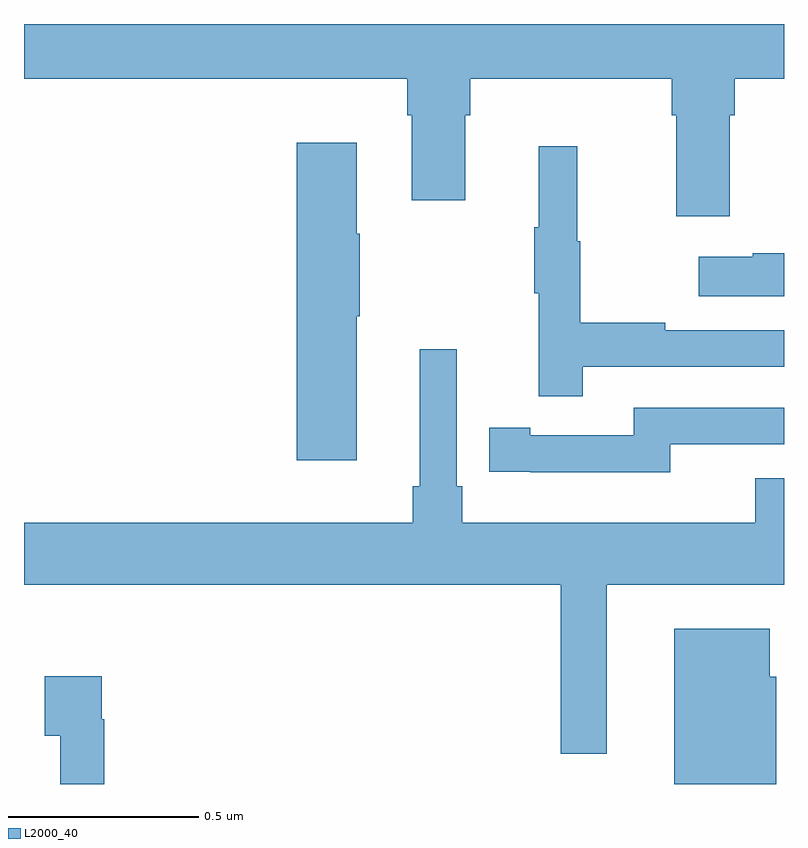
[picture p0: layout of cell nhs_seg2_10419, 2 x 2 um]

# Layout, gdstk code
import gdstk
lib = gdstk.Library(unit=1e-6, precision=1e-09)
def P(c, l, *ps):  # polygons
    for p in ps: c.add(gdstk.Polygon(p, *l))
L2000_40 = (2000, 40)

nhs_seg2_10419 = lib.new_cell('nhs_seg2_10419')
P(nhs_seg2_10419, L2000_40, [(241,627.656),(242.009,627.656),(242.009,627.56),(242.021,627.56),(242.021,627.336),(242.161,627.336),(242.161,627.56),(242.174,627.56),(242.174,627.656),(242.705,627.656),(242.705,627.56),(242.717,627.56),(242.717,627.294),(242.857,627.294),(242.857,627.56),(242.87,627.56),(242.87,627.656),(243,627.656),(243,627.8),(241,627.8)],
  [(241.876,627.031),(241.884,627.031),(241.884,627.248),(241.876,627.248),(241.876,627.487),(241.718,627.487),(241.718,626.652),(241.876,626.652)],
  [(242.471,626.898),(243,626.898),(243,626.994),(242.687,626.994),(242.687,627.014),(242.464,627.014),(242.464,627.228),(242.456,627.228),(242.456,627.478),(242.354,627.478),(242.354,627.265),(242.343,627.265),(242.343,627.091),(242.354,627.091),(242.354,626.82),(242.471,626.82)],
  [(243,627.197),(242.918,627.197),(242.918,627.187),(242.775,627.187),(242.775,627.083),(243,627.083)],
  [(242.533,626.324),(243,626.324),(243,626.605),(242.924,626.605),(242.924,626.488),(242.153,626.488),(242.153,626.584),(242.139,626.584),(242.139,626.944),(242.042,626.944),(242.042,626.584),(242.023,626.584),(242.023,626.488),(241,626.488),(241,626.324),(242.412,626.324),(242.412,625.88),(242.533,625.88)],
  [(242.7,626.694),(243,626.694),(243,626.79),(242.604,626.79),(242.604,626.718),(242.332,626.718),(242.332,626.738),(242.224,626.738),(242.224,626.622),(242.332,626.622),(242.332,626.621),(242.7,626.621)],
  [(242.98,626.082),(242.962,626.082),(242.962,626.209),(242.711,626.209),(242.711,625.8),(242.98,625.8)],
  [(241.211,625.97),(241.204,625.97),(241.204,626.083),(241.055,626.083),(241.055,625.927),(241.095,625.927),(241.095,625.8),(241.211,625.8)])

lib.write_gds('nhs_seg2_10419.gds')
